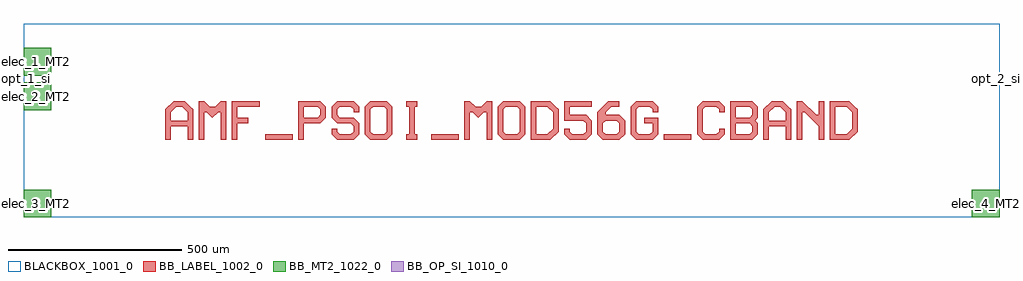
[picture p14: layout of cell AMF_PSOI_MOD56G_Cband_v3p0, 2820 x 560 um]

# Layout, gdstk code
import gdstk
lib = gdstk.Library(unit=1e-6, precision=1e-09)
def R(c, l, rs):  # rectangles x0, y0, x1, y1
    for r in rs: c.add(gdstk.rectangle(r[:2], r[2:], *l))
def P(c, l, *ps):  # polygons
    for p in ps: c.add(gdstk.Polygon(p, *l))
BLACKBOX_1001_0 = (1001, 0)
BB_LABEL_1002_0 = (1002, 0)
BB_OP_SI_1010_0 = (1010, 0)
BB_MT2_1022_0 = (1022, 0)

amf_psoi_mod56g_cband_v3 = lib.new_cell('AMF_PSOI_MOD56G_Cband_v3p0')
R(amf_psoi_mod56g_cband_v3, BLACKBOX_1001_0, [(0,-400,2820,160)])
R(amf_psoi_mod56g_cband_v3, BB_LABEL_1002_0, [(698,-176,778,-160), (1178,-176,1258,-160), (1850,-176,1930,-160)])
P(amf_psoi_mod56g_cband_v3, BB_LABEL_1002_0, [(410,-176),(410,-88),(434,-64),(466,-64),(482,-80),(442,-80),(426,-96),(426,-120),(474,-120),(474,-96),(458,-80),(482,-80),(490,-88),(490,-176),(474,-176),(474,-136),(426,-136),(426,-176)],
  [(506,-176),(506,-64),(522,-64),(538,-80),(554,-80),(570,-64),(586,-64),(586,-176),(570,-176),(570,-96),(562,-96),(546,-112),(530,-96),(522,-96),(522,-176)],
  [(602,-176),(602,-64),(682,-64),(682,-80),(618,-80),(618,-112),(650,-112),(650,-128),(618,-128),(618,-176)],
  [(794,-176),(794,-64),(858,-64),(874,-80),(874,-112),(858,-128),(810,-128),(810,-112),(850,-112),(858,-104),(858,-88),(850,-80),(810,-80),(810,-176)],
  [(906,-176),(890,-160),(890,-144),(906,-144),(906,-152),(914,-160),(946,-160),(954,-152),(954,-136),(946,-128),(906,-128),(890,-112),(890,-80),(906,-64),(954,-64),(970,-80),(970,-96),(954,-96),(954,-88),(946,-80),(914,-80),(906,-88),(906,-104),(914,-112),(954,-112),(970,-128),(970,-160),(954,-176)],
  [(1002,-176),(986,-160),(986,-80),(1002,-64),(1050,-64),(1066,-80),(1066,-120),(1050,-120),(1050,-88),(1042,-80),(1010,-80),(1002,-88),(1002,-152),(1010,-160),(1042,-160),(1050,-152),(1050,-120),(1066,-120),(1066,-160),(1050,-176)],
  [(1106,-176),(1106,-160),(1114,-160),(1114,-80),(1106,-80),(1106,-64),(1138,-64),(1138,-80),(1130,-80),(1130,-160),(1138,-160),(1138,-176)],
  [(1274,-176),(1274,-64),(1290,-64),(1306,-80),(1322,-80),(1338,-64),(1354,-64),(1354,-176),(1338,-176),(1338,-96),(1330,-96),(1314,-112),(1298,-96),(1290,-96),(1290,-176)],
  [(1386,-176),(1370,-160),(1370,-80),(1386,-64),(1434,-64),(1450,-80),(1450,-120),(1434,-120),(1434,-88),(1426,-80),(1394,-80),(1386,-88),(1386,-152),(1394,-160),(1426,-160),(1434,-152),(1434,-120),(1450,-120),(1450,-160),(1434,-176)],
  [(1466,-176),(1466,-64),(1522,-64),(1538,-80),(1482,-80),(1482,-160),(1514,-160),(1530,-144),(1530,-96),(1514,-80),(1538,-80),(1546,-88),(1546,-152),(1522,-176)],
  [(1578,-176),(1562,-160),(1562,-144),(1578,-144),(1578,-152),(1586,-160),(1618,-160),(1626,-152),(1626,-128),(1618,-120),(1562,-120),(1562,-64),(1642,-64),(1642,-80),(1578,-80),(1578,-104),(1626,-104),(1642,-120),(1642,-160),(1626,-176)],
  [(1674,-176),(1658,-160),(1658,-96),(1690,-64),(1722,-64),(1722,-80),(1698,-80),(1682,-96),(1682,-104),(1722,-104),(1738,-120),(1682,-120),(1674,-128),(1674,-152),(1682,-160),(1714,-160),(1722,-152),(1722,-128),(1714,-120),(1738,-120),(1738,-160),(1722,-176)],
  [(1770,-176),(1754,-160),(1754,-80),(1770,-64),(1818,-64),(1834,-80),(1834,-96),(1818,-96),(1818,-88),(1810,-80),(1778,-80),(1770,-88),(1770,-152),(1778,-160),(1810,-160),(1818,-152),(1818,-128),(1794,-128),(1794,-112),(1834,-112),(1834,-160),(1818,-176)],
  [(1962,-176),(1946,-160),(1946,-80),(1962,-64),(2010,-64),(2026,-80),(2026,-96),(2010,-96),(2010,-88),(2002,-80),(1970,-80),(1962,-88),(1962,-152),(1970,-160),(2002,-160),(2010,-152),(2010,-144),(2026,-144),(2026,-160),(2010,-176)],
  [(2042,-176),(2042,-64),(2106,-64),(2122,-80),(2058,-80),(2058,-112),(2098,-112),(2106,-104),(2106,-88),(2098,-80),(2122,-80),(2122,-112),(2114,-120),(2122,-128),(2058,-128),(2058,-160),(2098,-160),(2106,-152),(2106,-136),(2098,-128),(2122,-128),(2122,-160),(2106,-176)],
  [(2138,-176),(2138,-88),(2162,-64),(2194,-64),(2210,-80),(2170,-80),(2154,-96),(2154,-120),(2202,-120),(2202,-96),(2186,-80),(2210,-80),(2218,-88),(2218,-176),(2202,-176),(2202,-136),(2154,-136),(2154,-176)],
  [(2234,-176),(2234,-64),(2250,-64),(2290,-104),(2298,-104),(2298,-64),(2314,-64),(2314,-176),(2298,-176),(2298,-136),(2258,-96),(2250,-96),(2250,-176)],
  [(2330,-176),(2330,-64),(2386,-64),(2402,-80),(2346,-80),(2346,-160),(2378,-160),(2394,-144),(2394,-96),(2378,-80),(2402,-80),(2410,-88),(2410,-152),(2386,-176)])
R(amf_psoi_mod56g_cband_v3, BB_OP_SI_1010_0, [(0,-0.25,0.5,0.25), (2819.5,-0.25,2820,0.25)])
R(amf_psoi_mod56g_cband_v3, BB_MT2_1022_0, [(0,-400,80,-320), (2740,-400,2820,-320), (0,-90,80,-10), (0,10,80,90)])
amf_psoi_mod56g_cband_v3.add(gdstk.Label('opt_1_si', (0,0), layer=1010, texttype=0))
amf_psoi_mod56g_cband_v3.add(gdstk.Label('opt_2_si', (2820,0), layer=1010, texttype=0))
amf_psoi_mod56g_cband_v3.add(gdstk.Label('elec_1_MT2', (0,50), layer=1022, texttype=0))
amf_psoi_mod56g_cband_v3.add(gdstk.Label('elec_2_MT2', (0,-50), layer=1022, texttype=0))
amf_psoi_mod56g_cband_v3.add(gdstk.Label('elec_4_MT2', (2820,-360), layer=1022, texttype=0))
amf_psoi_mod56g_cband_v3.add(gdstk.Label('elec_3_MT2', (0,-360), layer=1022, texttype=0))

lib.write_gds('AMF_PSOI_MOD56G_Cband_v3p0.gds')
